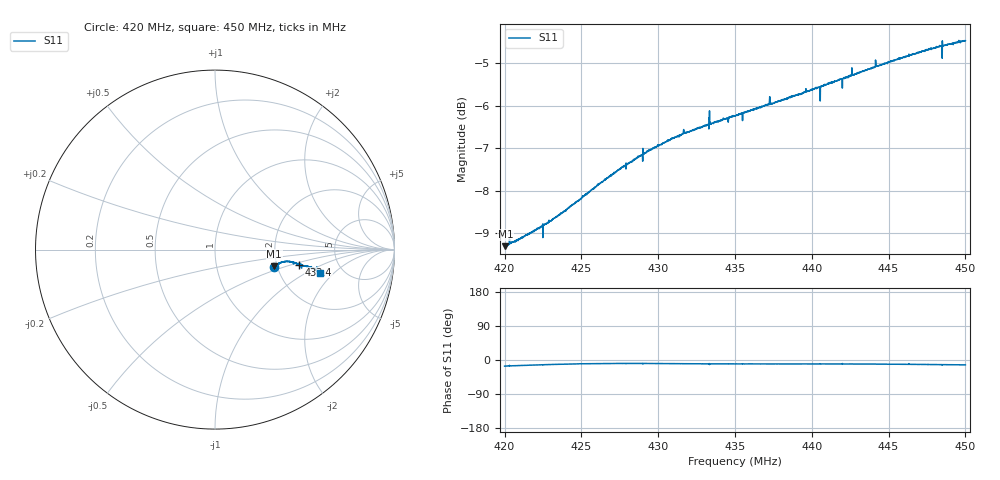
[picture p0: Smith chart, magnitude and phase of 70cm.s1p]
! Calibrated averaged scanner-service zoom
# Hz S RI R 50
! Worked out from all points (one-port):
!   3001 points, 420 MHz to 450 MHz, reference 50 ohm
!   lowest |S11| = -9.3 dB at 420.1 MHz (marker M1), VSWR 2.04, Z = 96.2 - j20.5 ohm
!   |S11| at or under -10 dB: nowhere
!   S11 on the Smith chart (normalised r, x): 420 MHz: 1.92, -0.41; 433.4 MHz: 2.68, -0.58; 450 MHz: 3.35, -1.38
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4.2e8  0.3295 -0.0951
4.2005e8  0.3294 -0.0942
4.2234e8  0.3521 -0.0804
4.2375e8  0.3681 -0.0718
4.2512e8  0.3861 -0.0668
4.2626e8  0.4012 -0.066
4.275e8  0.4167 -0.0664
4.2915e8  0.4357 -0.0702
4.3125e8  0.4545 -0.0775
4.3167e8  0.4609 -0.0797
4.3306e8  0.4675 -0.0826
4.3339e8  0.4692 -0.084
4.3353e8  0.4703 -0.0839
4.35e8  0.4795 -0.087
4.3678e8  0.4913 -0.0899
4.3714e8  0.494 -0.0899
4.3745e8  0.4954 -0.0902
4.3875e8  0.5061 -0.0922
4.4036e8  0.5175 -0.095
4.4045e8  0.518 -0.0949
4.4067e8  0.5202 -0.0954
4.4072e8  0.5202 -0.0948
4.4213e8  0.5306 -0.0986
4.425e8  0.5348 -0.0994
4.4428e8  0.5477 -0.1048
4.4625e8  0.562 -0.1135
4.4826e8  0.5747 -0.1239
4.5e8  0.5824 -0.1324
